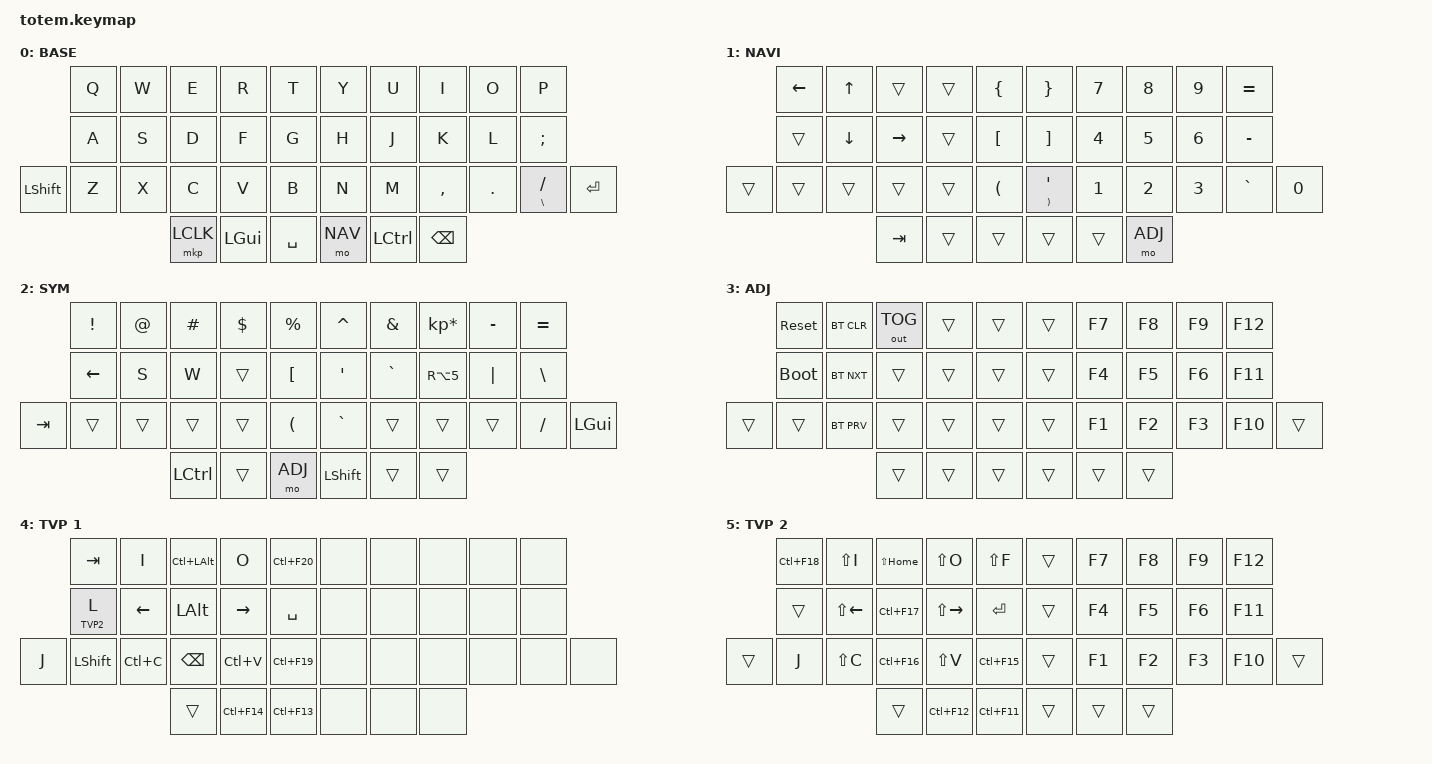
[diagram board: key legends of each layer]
//
//                                                        ▀▀▀▀▀     ▀▀▀▀▀          ▀▀█▀▀
//                                                        ▄▀▀▀▄  ▄  ▄▀▀▀▄  ▄  ▄▀▀▀▄  █  ▄▀▀▀▄
//                                                        █   █  █  █   █  █  █   █  █  █   █
//                                                         ▀▀▀   █   ▀▀▀   █   ▀▀▀   ▀   ▀▀▀
//                                                               █      ▄▄▄█▄▄▄    █   █  
//                                                               ▀      █  █  █     █▄█
//                                                             ▀▀▀▀▀    █  █  █      ▀
//                                                                      ▀  ▀  ▀
//
// ▄▄▄▄▄▄▄▄▄▄▄▄▄▄▄▄▄▄▄▄▄▄▄▄▄▄▄▄▄▄▄▄▄▄▄▄▄▄▄▄▄▄▄▄▄▄▄▄▄▄▄▄▄▄▄▄▄▄▄▄▄▄▄▄▄▄▄▄▄▄▄▄▄▄▄▄▄▄▄▄▄▄▄▄▄▄▄▄▄▄▄▄▄▄▄▄▄▄▄▄▄▄▄▄▄▄▄▄▄▄▄▄▄▄▄▄▄▄▄▄▄▄▄▄▄▄▄▄▄▄▄▄▄▄▄▄▄▄▄▄▄▄▄▄▄▄▄▄▄
       

#include <behaviors.dtsi>
#include <dt-bindings/zmk/keys.h>
#include <dt-bindings/zmk/bt.h>
#include <dt-bindings/zmk/outputs.h>
#include <dt-bindings/zmk/mouse.h>

#define BASE 0
#define NAV  1
#define SYM  2
#define ADJ  3
#define TVP1 4
#define TVP2 5

&mt {
  quick-tap-ms = <100>;
  global-quick-tap;
  flavor = "tap-preferred";
  tapping-term-ms = <170>;
};

/ {
     combos {
            compatible = "zmk,combos";
            combo_esc {
                timeout-ms = <50>;
                key-positions = <0 1>;
                bindings = <&kp ESC>;
            };
            combo_tvp {
                timeout-ms = <100>;
                key-positions = <11 12 13>;
                bindings = <&tog TVP1>;
            };
    };

    macros {
        gif: gif {
            label = "giphy";
            compatible = "zmk,behavior-macro";
            #binding-cells = <0>;
            bindings
                = <&macro_press &kp LSHFT>
                , <&macro_tap &kp N2>
                , <&macro_release &kp LSHFT>
                , <&macro_tap &kp G &kp I &kp F>
                ;
        };
    };

        keymap {
                compatible = "zmk,keymap";
// ▄▄▄▄▄▄▄▄▄▄▄▄▄▄▄▄▄▄▄▄▄▄▄▄▄▄▄▄▄▄▄▄▄▄▄▄▄▄▄▄▄▄▄▄▄▄▄▄▄▄▄▄▄▄▄▄▄▄▄▄▄▄▄▄▄▄▄▄▄▄▄▄▄▄▄▄▄▄▄▄▄▄▄▄▄▄▄▄▄▄▄▄▄▄▄▄▄▄▄▄▄▄▄▄▄▄▄▄▄▄▄▄▄▄▄▄▄▄▄▄▄▄▄▄▄▄▄▄▄▄▄▄▄▄▄▄▄▄▄▄▄▄▄▄▄▄▄▄▄

                base_layer {
// ┏━━━━━━━━━━━━━━━━━━━━━━━━━━━━━━━━━━━━━━━┓
label= "BASE"                              ;
// ┗━━━━━━━━━━━━━━━━━━━━━━━━━━━━━━━━━━━━━━━┛
//             ┏━━━━━━━━━━━┳━━━━━━━━━━━┳━━━━━━━━━━━┳━━━━━━━━━━━┳━━━━━━━━━━━┓   ┏━━━━━━━━━━━┳━━━━━━━━━━━┳━━━━━━━━━━━┳━━━━━━━━━━━┳━━━━━━━━━━━┓
//             ┃     Q     ┃     W     ┃     E     ┃     R     ┃     T     ┃   ┃     J     ┃     L     ┃     U     ┃     Y     ┃     P     ┃
//             ┣━━━━━━━━━━━╋━━━━━━━━━━━╋━━━━━━━━━━━╋━━━━━━━━━━━╋━━━━━━━━━━━┫   ┣━━━━━━━━━━━╋━━━━━━━━━━━╋━━━━━━━━━━━╋━━━━━━━━━━━╋━━━━━━━━━━━┫
//             ┃     A     ┃     S     ┃     D     ┃     F     ┃     G     ┃   ┃     H     ┃     N     ┃     E     ┃     I     ┃     O     ┃
// ┏━━━━━━━━━━━╋━━━━━━━━━━━╋━━━━━━━━━━━╋━━━━━━━━━━━╋━━━━━━━━━━━╋━━━━━━━━━━━┫   ┣━━━━━━━━━━━╋━━━━━━━━━━━╋━━━━━━━━━━━╋━━━━━━━━━━━╋━━━━━━━━━━━╋━━━━━━━━━━━┓
// ┃   SHFT    ┃     Z     ┃     X     ┃     C     ┃     V     ┃     B     ┃   ┃     K     ┃     M     ┃     ,     ┃     .     ┃     /     ┃   BSPC    ┃
// ┗━━━━━━━━━━━┻━━━━━━━━━━━┻━━━━━━━━━━━╋━━━━━━━━━━━╋━━━━━━━━━━━╋━━━━━━━━━━━┫   ┣━━━━━━━━━━━╋━━━━━━━━━━━╋━━━━━━━━━━━╋━━━━━━━━━━━┻━━━━━━━━━━━┻━━━━━━━━━━━┛
//                                     ┃   CAPS    ┃  command  ┃    SPC    ┃   ┃    NAV    ┃    ctrl   ┃   BSPC    ┃
//                                     ┗━━━━━━━━━━━┻━━━━━━━━━━━┻━━━━━━━━━━━┛   ┗━━━━━━━━━━━┻━━━━━━━━━━━┻━━━━━━━━━━━┛
 bindings = <
// ╷           ╷           ╷           ╷           ╷           ╷           ╷   ╷           ╷           ╷           ╷           ╷           ╷           ╷

                &kp Q       &kp W       &kp E       &kp R       &kp T           &kp Y       &kp U       &kp I       &kp O       &kp P
                &kp A       &kp S       &kp D       &kp F       &kp G           &kp H       &kp J       &kp K       &kp L       &kp SEMI
    &kp LSHFT   &kp Z       &kp X       &kp C       &kp V       &kp B           &kp N       &kp M       &kp COMMA   &kp DOT     &mt BACKSLASH SLASH  &kp ENTER
                                        &mkp LCLK   &kp LGUI    &kp SPACE       &mo NAV     &kp LCTRL   &kp BSPC 
                        >;
                }; 

// ▄▄▄▄▄▄▄▄▄▄▄▄▄▄▄▄▄▄▄▄▄▄▄▄▄▄▄▄▄▄▄▄▄▄▄▄▄▄▄▄▄▄▄▄▄▄▄▄▄▄▄▄▄▄▄▄▄▄▄▄▄▄▄▄▄▄▄▄▄▄▄▄▄▄▄▄▄▄▄▄▄▄▄▄▄▄▄▄▄▄▄▄▄▄▄▄▄▄▄▄▄▄▄▄▄▄▄▄▄▄▄▄▄▄▄▄▄▄▄▄▄▄▄▄▄▄▄▄▄▄▄▄▄▄▄▄▄▄▄▄▄▄▄▄▄▄▄▄▄


                nav_layer {
// ┏━━━━━━━━━━━━━━━━━━━━━━━━━━━━━━━━━━━━━━━┓
label= "NAVI"                              ;
// ┗━━━━━━━━━━━━━━━━━━━━━━━━━━━━━━━━━━━━━━━┛
//             ┏━━━━━━━━━━━┳━━━━━━━━━━━┳━━━━━━━━━━━┳━━━━━━━━━━━┳━━━━━━━━━━━┓   ┏━━━━━━━━━━━┳━━━━━━━━━━━┳━━━━━━━━━━━┳━━━━━━━━━━━┳━━━━━━━━━━━┓
//             ┃    LEFT   ┃     UP    ┃           ┃   새로고침  ┃     {     ┃   ┃     }     ┃     7     ┃     8     ┃     9     ┃     +     ┃
//             ┣━━━━━━━━━━━╋━━━━━━━━━━━╋━━━━━━━━━━━╋━━━━━━━━━━━╋━━━━━━━━━━━┫   ┣━━━━━━━━━━━╋━━━━━━━━━━━╋━━━━━━━━━━━╋━━━━━━━━━━━╋━━━━━━━━━━━┫
//             ┃  모두선택   ┃    DOWN   ┃   RIGHT   ┃   검색하기  ┃     [     ┃   ┃     ]     ┃     4     ┃     5     ┃     6     ┃     -     ┃
// ┏━━━━━━━━━━━╋━━━━━━━━━━━╋━━━━━━━━━━━╋━━━━━━━━━━━╋━━━━━━━━━━━╋━━━━━━━━━━━┫   ┣━━━━━━━━━━━╋━━━━━━━━━━━╋━━━━━━━━━━━╋━━━━━━━━━━━╋━━━━━━━━━━━╋━━━━━━━━━━━┓
// ┃           ┃  뒤로가기   ┃ 잘라내기    ┃   복사하기  ┃   붙여넣기   ┃     (     ┃   ┃     )     ┃     1     ┃     2     ┃     3     ┃           ┃     0     ┃
// ┗━━━━━━━━━━━┻━━━━━━━━━━━┻━━━━━━━━━━━╋━━━━━━━━━━━╋━━━━━━━━━━━╋━━━━━━━━━━━┫   ┣━━━━━━━━━━━╋━━━━━━━━━━━╋━━━━━━━━━━━╋━━━━━━━━━━━┻━━━━━━━━━━━┻━━━━━━━━━━━┛
//                                     ┃           ┃    TAB    ┃    SPC    ┃   ┃    DEL    ┃           ┃           ┃
//                                     ┗━━━━━━━━━━━┻━━━━━━━━━━━┻━━━━━━━━━━━┛   ┗━━━━━━━━━━━┻━━━━━━━━━━━┻━━━━━━━━━━━┛
 bindings = <
// ╷           ╷           ╷           ╷           ╷           ╷           ╷   ╷           ╷           ╷           ╷           ╷           ╷           ╷

                &kp LEFT   &kp UP       &trans     &trans       &kp LBRC        &kp RBRC                &kp N7      &kp N8   &kp N9   &kp EQUAL
                &trans     &kp DOWN     &kp RIGHT  &trans       &kp LBKT        &kp RBKT                &kp N4      &kp N5   &kp N6   &kp MINUS
    &trans      &trans     &trans       &trans     &trans       &kp LPAR        &mt RPAR SINGLE_QUOTE   &kp N1      &kp N2   &kp N3   &kp GRAVE &kp N0      
                                        &kp TAB     &trans       &trans         &trans                  &trans     &mo ADJ        
                        >;
                };      

// ▄▄▄▄▄▄▄▄▄▄▄▄▄▄▄▄▄▄▄▄▄▄▄▄▄▄▄▄▄▄▄▄▄▄▄▄▄▄▄▄▄▄▄▄▄▄▄▄▄▄▄▄▄▄▄▄▄▄▄▄▄▄▄▄▄▄▄▄▄▄▄▄▄▄▄▄▄▄▄▄▄▄▄▄▄▄▄▄▄▄▄▄▄▄▄▄▄▄▄▄▄▄▄▄▄▄▄▄▄▄▄▄▄▄▄▄▄▄▄▄▄▄▄▄▄▄▄▄▄▄▄▄▄▄▄▄▄▄▄▄▄▄▄▄▄▄▄▄▄


                sim_layer {
// ┏━━━━━━━━━━━━━━━━━━━━━━━━━━━━━━━━━━━━━━━┓
label= "SYM"                               ;
// ┗━━━━━━━━━━━━━━━━━━━━━━━━━━━━━━━━━━━━━━━┛
//             ┏━━━━━━━━━━━┳━━━━━━━━━━━┳━━━━━━━━━━━┳━━━━━━━━━━━┳━━━━━━━━━━━┓   ┏━━━━━━━━━━━┳━━━━━━━━━━━┳━━━━━━━━━━━┳━━━━━━━━━━━┳━━━━━━━━━━━┓
//             ┃     !     ┃     @     ┃     #     ┃     $     ┃     %     ┃   ┃     ˆ     ┃     &     ┃     *     ┃     '     ┃     P     ┃
//             ┣━━━━━━━━━━━╋━━━━━━━━━━━╋━━━━━━━━━━━╋━━━━━━━━━━━╋━━━━━━━━━━━┫   ┣━━━━━━━━━━━╋━━━━━━━━━━━╋━━━━━━━━━━━╋━━━━━━━━━━━╋━━━━━━━━━━━┫
//             ┃     `     ┃     S     ┃     W     ┃    F      ┃    G      ┃   ┃     '     ┃   YEN     ┃   EURO    ┃  POUND    ┃     \     ┃
// ┏━━━━━━━━━━━╋━━━━━━━━━━━╋━━━━━━━━━━━╋━━━━━━━━━━━╋━━━━━━━━━━━╋━━━━━━━━━━━┫   ┣━━━━━━━━━━━╋━━━━━━━━━━━╋━━━━━━━━━━━╋━━━━━━━━━━━╋━━━━━━━━━━━╋━━━━━━━━━━━┓
// ┃           ┃  Z        ┃  X        ┃     C     ┃     V     ┃           ┃   ┃     `     ┃   VOL+    ┃   LAST    ┃   NEXT    ┃     \     ┃           ┃
// ┗━━━━━━━━━━━┻━━━━━━━━━━━┻━━━━━━━━━━━╋━━━━━━━━━━━╋━━━━━━━━━━━╋━━━━━━━━━━━┫   ┣━━━━━━━━━━━╋━━━━━━━━━━━╋━━━━━━━━━━━╋━━━━━━━━━━━┻━━━━━━━━━━━┻━━━━━━━━━━━┛
//                                     ┃           ┃    GIF    ┃    ADJ    ┃   ┃           ┃           ┃           ┃
//                                     ┗━━━━━━━━━━━┻━━━━━━━━━━━┻━━━━━━━━━━━┛   ┗━━━━━━━━━━━┻━━━━━━━━━━━┻━━━━━━━━━━━┛
 bindings = <
// ╷           ╷           ╷           ╷           ╷           ╷           ╷   ╷           ╷           ╷           ╷           ╷           ╷           ╷

                &kp EXCL    &kp AT      &kp HASH    &kp DLLR    &kp PRCNT         &kp CARET          &kp AMPS    &kp KP_MULTIPLY &kp MINUS   &kp EQUAL      
                &kp LEFT     &kp S      &kp W       &trans          &kp LBKT      &kp SINGLE_QUOTE   &kp GRAVE   &kp RA(N5)     &kp PIPE    &kp BSLH 
    &kp TAB     &trans      &trans      &trans      &trans        &kp LPAR        &kp GRAVE          &trans      &trans         &trans      &kp SLASH   &kp LGUI         
                                        &kp LCTRL      &trans      &mo ADJ        &kp LSHFT          &trans      &trans      
                        >;
                };

// ▄▄▄▄▄▄▄▄▄▄▄▄▄▄▄▄▄▄▄▄▄▄▄▄▄▄▄▄▄▄▄▄▄▄▄▄▄▄▄▄▄▄▄▄▄▄▄▄▄▄▄▄▄▄▄▄▄▄▄▄▄▄▄▄▄▄▄▄▄▄▄▄▄▄▄▄▄▄▄▄▄▄▄▄▄▄▄▄▄▄▄▄▄▄▄▄▄▄▄▄▄▄▄▄▄▄▄▄▄▄▄▄▄▄▄▄▄▄▄▄▄▄▄▄▄▄▄▄▄▄▄▄▄▄▄▄▄▄▄▄▄▄▄▄▄▄▄▄▄


                adjust_layer {
// ┏━━━━━━━━━━━━━━━━━━━━━━━━━━━━━━━━━━━━━━━┓
label= "ADJ"                               ;
// ┗━━━━━━━━━━━━━━━━━━━━━━━━━━━━━━━━━━━━━━━┛
//             ┏━━━━━━━━━━━┳━━━━━━━━━━━┳━━━━━━━━━━━┳━━━━━━━━━━━┳━━━━━━━━━━━┓   ┏━━━━━━━━━━━┳━━━━━━━━━━━┳━━━━━━━━━━━┳━━━━━━━━━━━┳━━━━━━━━━━━┓
//             ┃   RESET   ┃ BT CLEAR  ┃  OUT TOG  ┃           ┃           ┃   ┃           ┃    F7     ┃    F8     ┃    F9     ┃    F12    ┃
//             ┣━━━━━━━━━━━╋━━━━━━━━━━━╋━━━━━━━━━━━╋━━━━━━━━━━━╋━━━━━━━━━━━┫   ┣━━━━━━━━━━━╋━━━━━━━━━━━╋━━━━━━━━━━━╋━━━━━━━━━━━╋━━━━━━━━━━━┫
//             ┃ BOOTLOAD  ┃ BT NEXT   ┃           ┃           ┃           ┃   ┃           ┃    F4     ┃    F5     ┃    F6     ┃    F11    ┃
// ┏━━━━━━━━━━━╋━━━━━━━━━━━╋━━━━━━━━━━━╋━━━━━━━━━━━╋━━━━━━━━━━━╋━━━━━━━━━━━┫   ┣━━━━━━━━━━━╋━━━━━━━━━━━╋━━━━━━━━━━━╋━━━━━━━━━━━╋━━━━━━━━━━━╋━━━━━━━━━━━┓
// ┃           ┃           ┃ BT PREV   ┃           ┃           ┃           ┃   ┃           ┃    F1     ┃    F2     ┃    F3     ┃    F10    ┃           ┃
// ┗━━━━━━━━━━━┻━━━━━━━━━━━┻━━━━━━━━━━━╋━━━━━━━━━━━╋━━━━━━━━━━━╋━━━━━━━━━━━┫   ┣━━━━━━━━━━━╋━━━━━━━━━━━╋━━━━━━━━━━━╋━━━━━━━━━━━┻━━━━━━━━━━━┻━━━━━━━━━━━┛
//                                     ┃           ┃           ┃           ┃   ┃           ┃           ┃           ┃
//                                     ┗━━━━━━━━━━━┻━━━━━━━━━━━┻━━━━━━━━━━━┛   ┗━━━━━━━━━━━┻━━━━━━━━━━━┻━━━━━━━━━━━┛
 bindings = <
// ╷           ╷           ╷           ╷           ╷           ╷           ╷   ╷           ╷           ╷           ╷           ╷           ╷           ╷

                &sys_reset  &bt BT_CLR &out OUT_TOG &trans      &trans          &trans      &kp F7      &kp F8      &kp F9      &kp F12
                &bootloader &bt BT_NXT  &trans      &trans      &trans          &trans      &kp F4      &kp F5      &kp F6      &kp F11  
    &trans      &trans      &bt BT_PRV  &trans      &trans      &trans          &trans      &kp F1      &kp F2      &kp F3      &kp F10     &trans         
                                        &trans      &trans      &trans          &trans      &trans      &trans      
                        >;
                };

// ▄▄▄▄▄▄▄▄▄▄▄▄▄▄▄▄▄▄▄▄▄▄▄▄▄▄▄▄▄▄▄▄▄▄▄▄▄▄▄▄▄▄▄▄▄▄▄▄▄▄▄▄▄▄▄▄▄▄▄▄▄▄▄▄▄▄▄▄▄▄▄▄▄▄▄▄▄▄▄▄▄▄▄▄▄▄▄▄▄▄▄▄▄▄▄▄▄▄▄▄▄▄▄▄▄▄▄▄▄▄▄▄▄▄▄▄▄▄▄▄▄▄▄▄▄▄▄▄▄▄▄▄▄▄▄▄▄▄▄▄▄▄▄▄▄▄▄▄▄


                tvp1_layer {
// ┏━━━━━━━━━━━━━━━━━━━━━━━━━━━━━━━━━━━━━━━┓
label= "TVP 1"                             ;
// ┗━━━━━━━━━━━━━━━━━━━━━━━━━━━━━━━━━━━━━━━┛
//             ┏━━━━━━━━━━━┳━━━━━━━━━━━┳━━━━━━━━━━━┳━━━━━━━━━━━┳━━━━━━━━━━━┓   ┏━━━━━━━━━━━┳━━━━━━━━━━━┳━━━━━━━━━━━┳━━━━━━━━━━━┳━━━━━━━━━━━┓
//             ┃ NEXT FILE ┃ MARK IN   ┃ ROTATE    ┃ MARK OUT  ┃ SHOW SNAP ┃   ┃           ┃           ┃           ┃           ┃           ┃
//             ┣━━━━━━━━━━━╋━━━━━━━━━━━╋━━━━━━━━━━━╋━━━━━━━━━━━╋━━━━━━━━━━━┫   ┣━━━━━━━━━━━╋━━━━━━━━━━━╋━━━━━━━━━━━╋━━━━━━━━━━━╋━━━━━━━━━━━┫
//             ┃ TVP II    ┃ LEFT      ┃ PAN       ┃ RIGHT     ┃ PLAY/FLIP ┃   ┃           ┃           ┃           ┃           ┃           ┃
// ┏━━━━━━━━━━━╋━━━━━━━━━━━╋━━━━━━━━━━━╋━━━━━━━━━━━╋━━━━━━━━━━━╋━━━━━━━━━━━┫   ┣━━━━━━━━━━━╋━━━━━━━━━━━╋━━━━━━━━━━━╋━━━━━━━━━━━╋━━━━━━━━━━━╋━━━━━━━━━━━┓
// ┃ FULLSCR   ┃ SHIFT     ┃ COPY      ┃ DELETE    ┃ PASTE     ┃ IMG MARK  ┃   ┃           ┃           ┃           ┃           ┃           ┃           ┃
// ┗━━━━━━━━━━━┻━━━━━━━━━━━┻━━━━━━━━━━━╋━━━━━━━━━━━╋━━━━━━━━━━━╋━━━━━━━━━━━┫   ┣━━━━━━━━━━━╋━━━━━━━━━━━╋━━━━━━━━━━━╋━━━━━━━━━━━┻━━━━━━━━━━━┻━━━━━━━━━━━┛
//                                     ┃           ┃ UNDO/SAVE ┃  SEL/MOV  ┃   ┃           ┃           ┃           ┃
//                                     ┗━━━━━━━━━━━┻━━━━━━━━━━━┻━━━━━━━━━━━┛   ┗━━━━━━━━━━━┻━━━━━━━━━━━┻━━━━━━━━━━━┛
 bindings = <
// ╷           ╷           ╷           ╷           ╷           ╷           ╷   ╷           ╷           ╷           ╷           ╷           ╷           ╷

                &kp TAB     &kp I       &kp LC(LALT) &kp O      &kp LC(F20)     &none       &none       &none       &none       &none
                &lt TVP2 L  &kp LEFT    &kp LALT    &kp RIGHT   &kp SPACE       &none       &none       &none       &none       &none
    &kp J       &kp LSHFT   &kp LC(C)   &kp BSPC    &kp LC(V)   &kp LC(F19)     &none       &none       &none       &none       &none       &none        
                                        &trans      &kp LC(F14) &kp LC(F13)     &none       &none       &none    
                        >;
                };

// ▄▄▄▄▄▄▄▄▄▄▄▄▄▄▄▄▄▄▄▄▄▄▄▄▄▄▄▄▄▄▄▄▄▄▄▄▄▄▄▄▄▄▄▄▄▄▄▄▄▄▄▄▄▄▄▄▄▄▄▄▄▄▄▄▄▄▄▄▄▄▄▄▄▄▄▄▄▄▄▄▄▄▄▄▄▄▄▄▄▄▄▄▄▄▄▄▄▄▄▄▄▄▄▄▄▄▄▄▄▄▄▄▄▄▄▄▄▄▄▄▄▄▄▄▄▄▄▄▄▄▄▄▄▄▄▄▄▄▄▄▄▄▄▄▄▄▄▄▄


                tvp2_layer {
// ┏━━━━━━━━━━━━━━━━━━━━━━━━━━━━━━━━━━━━━━━┓
label= "TVP 2"                             ;
// ┗━━━━━━━━━━━━━━━━━━━━━━━━━━━━━━━━━━━━━━━┛
//             ┏━━━━━━━━━━━┳━━━━━━━━━━━┳━━━━━━━━━━━┳━━━━━━━━━━━┳━━━━━━━━━━━┓   ┏━━━━━━━━━━━┳━━━━━━━━━━━┳━━━━━━━━━━━┳━━━━━━━━━━━┳━━━━━━━━━━━┓
//             ┃ SOLO      ┃ TOGGLE IN ┃ RESET ROT ┃ TOGGLE OUT┃ TAKE SNAP ┃   ┃           ┃           ┃           ┃           ┃           ┃
//             ┣━━━━━━━━━━━╋━━━━━━━━━━━╋━━━━━━━━━━━╋━━━━━━━━━━━╋━━━━━━━━━━━┫   ┣━━━━━━━━━━━╋━━━━━━━━━━━╋━━━━━━━━━━━╋━━━━━━━━━━━╋━━━━━━━━━━━┫
//             ┃ ---       ┃ LAST KEY  ┃ NEW KEY   ┃ NEXT KEY  ┃ ENTER     ┃   ┃           ┃           ┃           ┃           ┃           ┃
// ┏━━━━━━━━━━━╋━━━━━━━━━━━╋━━━━━━━━━━━╋━━━━━━━━━━━╋━━━━━━━━━━━╋━━━━━━━━━━━┫   ┣━━━━━━━━━━━╋━━━━━━━━━━━╋━━━━━━━━━━━╋━━━━━━━━━━━╋━━━━━━━━━━━╋━━━━━━━━━━━┓
// ┃           ┃ FULLSCR   ┃ CPY2BRUSH ┃ DEL HEAD  ┃ PSTinPLACE┃ BOOK MARK ┃   ┃           ┃           ┃           ┃           ┃           ┃           ┃
// ┗━━━━━━━━━━━┻━━━━━━━━━━━┻━━━━━━━━━━━╋━━━━━━━━━━━╋━━━━━━━━━━━╋━━━━━━━━━━━┫   ┣━━━━━━━━━━━╋━━━━━━━━━━━╋━━━━━━━━━━━╋━━━━━━━━━━━┻━━━━━━━━━━━┻━━━━━━━━━━━┛
//                                     ┃           ┃ REDO/SAV1 ┃TRANS/WARP ┃   ┃           ┃           ┃           ┃
//                                     ┗━━━━━━━━━━━┻━━━━━━━━━━━┻━━━━━━━━━━━┛   ┗━━━━━━━━━━━┻━━━━━━━━━━━┻━━━━━━━━━━━┛
 bindings = <
// ╷           ╷           ╷           ╷           ╷           ╷           ╷   ╷           ╷           ╷           ╷           ╷           ╷           ╷

                &kp LC(F18) &kp LS(I)  &kp LS(HOME) &kp LS(O)   &kp LS(F)       &trans      &kp F7      &kp F8      &kp F9      &kp F12
                &trans      &kp LS(LEFT) &kp LC(F17) &kp LS(RIGHT) &kp RET      &trans      &kp F4      &kp F5      &kp F6      &kp F11  
    &trans      &kp J       &kp LS(C)   &kp LC(F16) &kp LS(V)   &kp LC(F15)     &trans      &kp F1      &kp F2      &kp F3      &kp F10     &trans         
                                        &trans      &kp LC(F12) &kp LC(F11)     &trans      &trans      &trans      
                        >;
                };
        };
};
